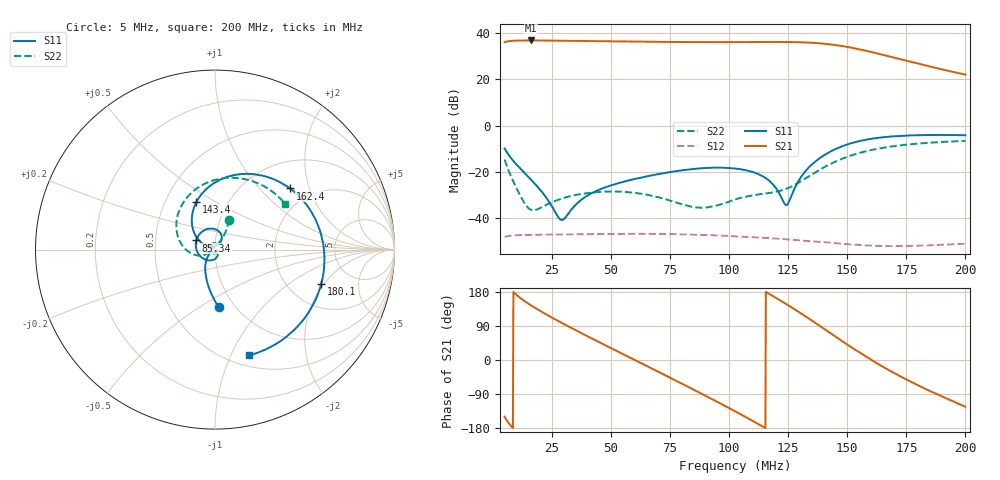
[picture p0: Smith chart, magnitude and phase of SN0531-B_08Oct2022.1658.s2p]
# Hz S DB R 50
! CMT, M5045, 22160017, 22.3.3/2
! Date: 10/8/2022 16:58:45
! Data: Format (Calibration Info)
! Freq	S11:dB/Ang(F2)	S21:dB/Ang(F2)	S12:dB/Ang(F2)	S22:dB/Ang(F2)
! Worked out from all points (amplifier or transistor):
!   1001 points, 5 MHz to 200 MHz, reference 50 ohm
!   highest |S21| = 36.9 dB at 16.31 MHz (marker M1)
!   |S21| within 3 dB of that: start of sweep to 151.1 MHz
!   unconditionally stable (mu >= 1): start of sweep to end of sweep
!   at 37.37 MHz: K = 1.79, MAG = 36.7 dB, |S12| = -47.0 dB
!   at 102.5 MHz: K = 2.03, MAG = 36.2 dB, |S12| = -47.9 dB
!   at 200 MHz: K = 7.11, MAG = 25.1 dB, |S12| = -51.1 dB
!   S11 on the Smith chart (normalised r, x): 5 MHz: 0.85, -0.60; 85.34 MHz: 0.81, +0.08; 143.4 MHz: 0.71, +0.41; 162.4 MHz: 1.56, +1.50; 180.1 MHz: 3.03, -1.88; 200 MHz: 0.62, -1.18
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5000000  -9.91 -86.3  36.09 -149.4  -48.25 -146.7  -14.69 64.9
9290000  -15.97 -108.2  36.78 176.0  -47.46 178.7  -25.55 58.4
1.631e7  -23.52 -132.9  36.88 143.6  -47.26 146.1  -36.49 108.1
2.6645e7  -37.80 -131.8  36.80 106.5  -47.13 110.1  -32.49 153.5
3.7565e7  -32.00 -55.2  36.65 70.7  -47.00 75.9  -29.55 143.0
4.634e7  -27.18 -77.0  36.53 42.9  -46.91 49.5  -28.61 125.1
5.4335e7  -24.56 -102.1  36.43 17.9  -46.85 25.9  -28.58 104.5
6.2135e7  -22.61 -128.1  36.35 -6.4  -46.83 3.2  -29.36 81.0
7.013e7  -20.97 -155.1  36.27 -31.4  -46.87 -20.1  -31.01 53.1
8.534e7  -18.71 153.8  36.17 -79.4  -47.17 -64.8  -35.32 -22.2
9.392e7  -18.18 125.1  36.15 -107.0  -47.48 -90.5  -34.77 -77.5
1.025e8  -18.55 97.2  36.15 -135.2  -47.88 -116.8  -31.95 -117.6
1.11275e8  -20.52 70.1  36.20 -165.1  -48.36 -145.0  -29.94 -145.6
1.19075e8  -26.02 53.4  36.24 166.9  -48.83 -172.0  -28.81 -155.0
1.26485e8  -30.08 146.4  36.18 138.7  -49.34 160.1  -26.32 -152.5
1.35065e8  -16.78 142.0  35.87 104.0  -50.00 124.4  -21.11 -157.7
1.4345e8  -10.91 111.3  35.09 68.5  -50.73 86.6  -16.31 -177.1
1.5242e8  -7.40 76.1  33.61 30.9  -51.48 45.3  -12.64 155.6
1.62365e8  -5.36 39.1  31.36 -7.9  -52.04 2.8  -10.09 125.1
1.6763e8  -4.77 21.0  30.03 -26.8  -52.16 -17.2  -9.17 110.1
1.8011e8  -4.13 -17.8  26.82 -67.3  -51.96 -58.1  -7.75 77.5
2e8  -4.16 -72.0  22.07 -123.4  -51.10 -110.5  -6.61 33.0
